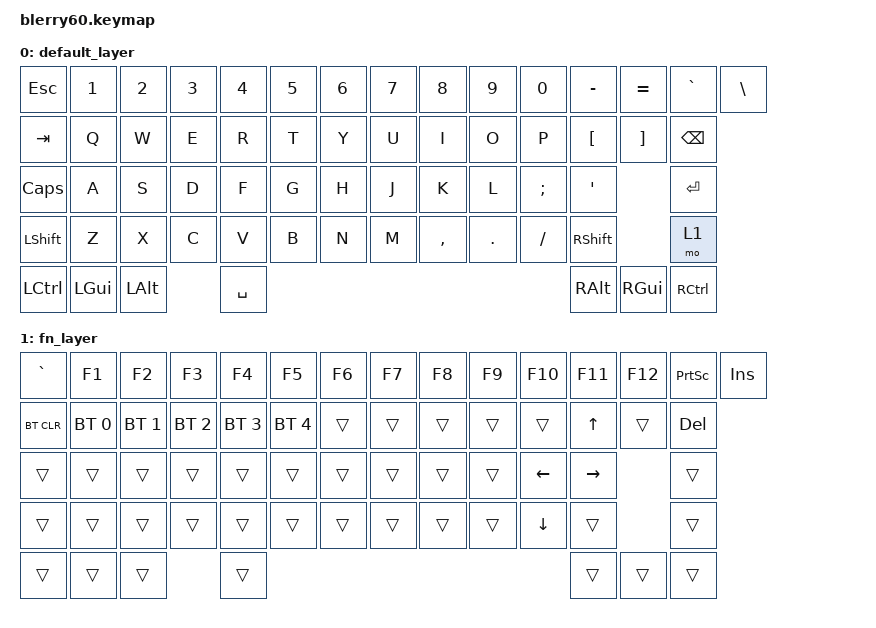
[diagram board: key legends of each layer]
#include <behaviors.dtsi>
#include <dt-bindings/zmk/keys.h>
#include <dt-bindings/zmk/bt.h>
#include <dt-bindings/zmk/outputs.h>
#include <dt-bindings/zmk/rgb.h>
#include <dt-bindings/zmk/ext_power.h>

// See: layout.h for layout options

/ {
	keymap {
		compatible = "zmk,keymap";

		default_layer {
// -----------------------------------------------------------------------------------------
//   | ESC   | 1     | 2     | 3     | 4     | 5     | 6     | 7     | 8     | 9     | 0     | -     | =     | BACKSPACE     |
//   | TAB   | Q     | W     | E     | R     | T     | Y     | U     | I     | O     | P     | [     | ]     | \             |  
//   | CAPS  | A     | S     | D     | F     | G     | H     | J     | K     | L     | ;     | '     |         ENTER         |
//   | SHIFT | Z     | X     | C     | V     | B     | N     | M     | ,     | .     | /     |                SHIFT | FN     |
//   | CTRL  | GUI   | ALT   |                 SPACE                                                  | ALT   | GUI | CTRL   |

			bindings = <
    &kp ESC          &kp NUM_1        &kp NUM_2     &kp NUM_3     &kp NUM_4     &kp NUM_5        &kp NUM_6        &kp NUM_7        &kp NUM_8        &kp NUM_9        &kp NUM_0        &kp MINUS        &kp EQL          &kp GRAVE	&kp BSLH
    &kp TAB          &kp Q            &kp W         &kp E         &kp R         &kp T            &kp Y            &kp U            &kp I            &kp O            &kp P            &kp LBKT         &kp RBKT         &kp BSPC
    &kp CAPS         &kp A            &kp S         &kp D         &kp F         &kp G            &kp H            &kp J            &kp K            &kp L            &kp SCLN         &kp QUOT                          &kp ENTER
    &kp LSHFT        &kp Z            &kp X         &kp C         &kp V         &kp B            &kp N            &kp M            &kp CMMA         &kp DOT          &kp FSLH         &kp RSHFT                         &mo 1
	&kp LCTRL        &kp LGUI         &kp LALT                    &kp SPACE                                                                                                           &kp RALT         &kp RGUI         &kp RCTRL
			>;
		};

		fn_layer {
// -----------------------------------------------------------------------------------------
//   | GRAVE | F1    | F2    | F3    | F4    | F5    | F6    | F7    | F8    | F9    | F10   | F11   | F12   | DEL    |
//   | BT_CLR|PROF 0 |PROF 1 |PROF 2 |PROF 3 |PROF 4 | PSCR  | SCLK  | PAUSE | TRANS | TRANS | UP    | TRANS | TRANS  |       
//   | TRANS | TRANS | TRANS | TRANS | TRANS | TRANS | TRANS | TRANS | HOME  | PG_UP | LEFT  | RIGHT |         TRANS  |  
//   | SHIFT | TRANS | TRANS | TRANS | TRANS | TRANS | TRANS | TRANS | TRANS | END   | PG_DN | DOWN  | TRANS |  TRANS |
//   | TRANS | TRANS | TRANS |                        TRANS |                                  TRANS | TRANS | TRANS |

			bindings = <
    &kp GRAVE        &kp F1           &kp F2           &kp F3          &kp F4          &kp F5        &kp F6           &kp F7           &kp F8           &kp F9           &kp F10          &kp F11          &kp F12       &kp PSCRN	&kp INS
    &bt BT_CLR       &bt BT_SEL 0     &bt BT_SEL 1     &bt BT_SEL 2    &bt BT_SEL 3    &bt BT_SEL 4  &trans	      &trans           &trans	  	&trans           &trans           &kp UP           &trans        &kp DEL      
    &trans           &trans           &trans           &trans          &trans          &trans        &trans           &trans           &trans         	&trans        	 &kp LEFT         &kp RIGHT                      &trans
    &trans           &trans           &trans           &trans          &trans          &trans        &trans           &trans           &trans          	&trans        	 &kp DOWN         &trans                         &trans
    &trans           &trans           &trans                           &trans                                                                                                             &trans           &trans        &trans
			>;
		};

	};
};
